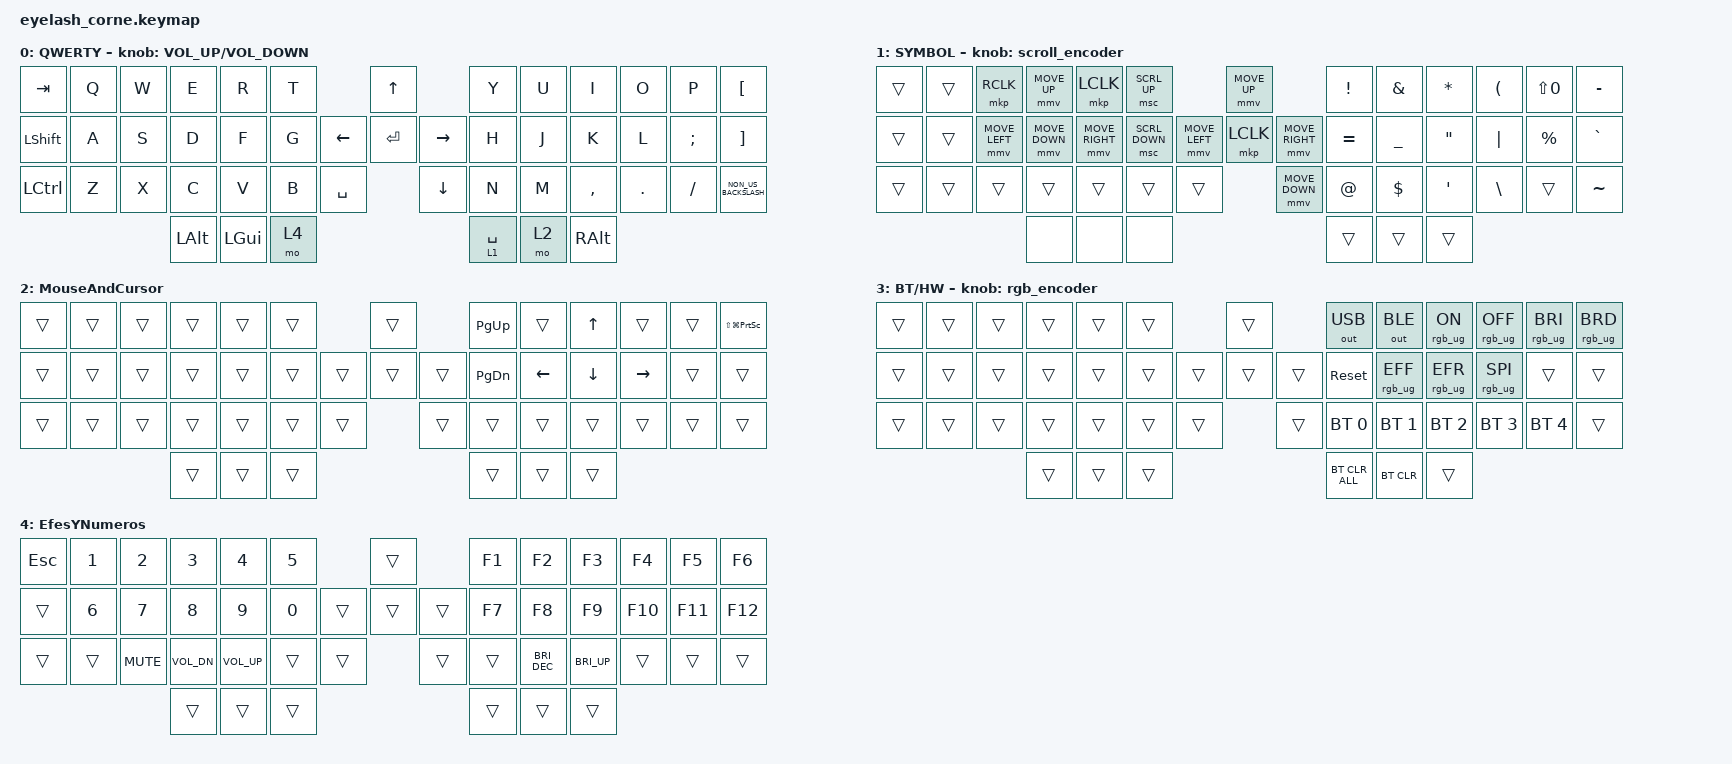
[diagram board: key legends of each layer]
#define ZMK_POINTING_DEFAULT_MOVE_VAL 1200  // 600
#define ZMK_POINTING_DEFAULT_SCRL_VAL 25   // 10

#include <input/processors.dtsi>
#include <zephyr/dt-bindings/input/input-event-codes.h>
#include <behaviors.dtsi>
#include <dt-bindings/zmk/bt.h>
#include <dt-bindings/zmk/keys.h>
#include <dt-bindings/zmk/outputs.h>
#include <dt-bindings/zmk/pointing.h>
#include <dt-bindings/zmk/rgb.h>
#include "keys_es_latin_american.h"

&mmv_input_listener { input-processors = <&zip_xy_scaler 2 1>; };

&msc_input_listener { input-processors = <&zip_scroll_scaler 2 1>; };

&msc {
    acceleration-exponent = <1>;      // 0
    time-to-max-speed-ms = <100>;       // 300
    delay-ms = <0>;                   // 0
};

&mmv {
    time-to-max-speed-ms = <500>;
    acceleration-exponent = <1>;
    trigger-period-ms = <16>;
};

/ {
    behaviors {
        td0: td0 {
            compatible = "zmk,behavior-tap-dance";
            display-name = "Shift/Caps Lock Tap Dance";
            #binding-cells = <0>;
            bindings = <&kp LEFT_SHIFT>, <&kp CAPS>;
        };

        // Custom layer-tap with improved timing for spacebar

        lt_space: lt_space {
            compatible = "zmk,behavior-hold-tap";
            #binding-cells = <2>;
            tapping-term-ms = <300>;
            quick-tap-ms = <175>;
            flavor = "tap-preferred";
            bindings = <&mo>, <&kp>;
        };
    };

    rgb_encoder: rgb_encoder {
        compatible = "zmk,behavior-sensor-rotate";
        #sensor-binding-cells = <0>;
        bindings = <&rgb_ug RGB_BRI>, <&rgb_ug RGB_BRD>;
    };

    scroll_encoder: scroll_encoder {
        compatible = "zmk,behavior-sensor-rotate";
        #sensor-binding-cells = <0>;
        bindings = <&msc SCRL_DOWN>, <&msc SCRL_UP>;

        tap-ms = <100>;
    };

    combos {
        compatible = "zmk,combos";

        borrar {
            bindings = <&kp BACKSPACE>;
            key-positions = <23 24>;
        };

        borrarderecha {
            bindings = <&kp BACKSPACE>;
            key-positions = <16 17>;
        };

        Enter {
            bindings = <&kp ENTER>;
            key-positions = <43 44>;
        };

        capa3 {
            bindings = <&mo 3>;
            key-positions = <0 13>;
        };

        rightenter {
            bindings = <&kp ENTER>;
            key-positions = <45 46>;
        };

        entermiddle {
            bindings = <&kp ENTER>;
            key-positions = <44 45>;
        };
    };

    keymap {
        compatible = "zmk,keymap";

        default_layer {
            display-name = "QWERTY";
            bindings = <
&kp TAB     &kp Q  &kp W  &kp E         &kp R         &kp T                         &kp UP                &kp Y              &kp U  &kp I      &kp O    &kp P     &kp LBKT
&kp LSHIFT  &kp A  &kp S  &kp D         &kp F         &kp G               &kp LEFT  &kp ENTER  &kp RIGHT  &kp H              &kp J  &kp K      &kp L    &kp SEMI  &kp RBKT
&kp LCTRL   &kp Z  &kp X  &kp C         &kp V         &kp B  &kp SPACE              &kp DOWN              &kp N              &kp M  &kp COMMA  &kp DOT  &kp FSLH  &kp NON_US_BACKSLASH
                          &kp LEFT_ALT  &kp LEFT_GUI  &mo 4                                               &lt_space 1 SPACE  &mo 2  &kp RALT
            >;

            sensor-bindings = <&inc_dec_kp C_VOLUME_UP C_VOLUME_DOWN>;
        };

        SpecialCharacters {
            display-name = "SYMBOL";
            bindings = <
&trans  &trans  &mkp RCLK       &mmv MOVE_UP    &mkp LCLK        &msc SCRL_UP                              &mmv MOVE_UP                     &kp EXCL   &kp AMPS   &kp ASTRK  &kp LPAR       &kp LS(N0)   &kp MINUS
&trans  &trans  &mmv MOVE_LEFT  &mmv MOVE_DOWN  &mmv MOVE_RIGHT  &msc SCRL_DOWN            &mmv MOVE_LEFT  &mkp LCLK       &mmv MOVE_RIGHT  &kp EQUAL  &kp UNDER  &kp DQT    &kp PIPE       &kp PERCENT  &kp GRAVE
&trans  &trans  &trans          &trans          &trans           &trans          &trans                    &mmv MOVE_DOWN                   &kp AT     &kp DLLR   &kp APOS   &kp BACKSLASH  &trans       &kp TILDE
                                &none           &none            &none                                                                      &trans     &trans     &trans
            >;

            sensor-bindings = <&scroll_encoder>;
        };

        MouseAndCursor {
            bindings = <
&trans  &trans  &trans  &trans  &trans  &trans                    &trans          &kp PAGE_UP    &trans          &kp UP_ARROW  &trans     &trans  &kp LS(LG(PRINTSCREEN))
&trans  &trans  &trans  &trans  &trans  &trans            &trans  &trans  &trans  &kp PAGE_DOWN  &kp LEFT_ARROW  &kp DOWN      &kp RIGHT  &trans  &trans
&trans  &trans  &trans  &trans  &trans  &trans  &trans            &trans          &trans         &trans          &trans        &trans     &trans  &trans
                        &trans  &trans  &trans                                    &trans         &trans          &trans
            >;
        };

        BluetoothAndHardware {
            display-name = "BT/HW";
            bindings = <
&trans  &trans  &trans  &trans  &trans  &trans                    &trans          &out OUT_USB    &out OUT_BLE     &rgb_ug RGB_ON   &rgb_ug RGB_OFF  &rgb_ug RGB_BRI  &rgb_ug RGB_BRD
&trans  &trans  &trans  &trans  &trans  &trans            &trans  &trans  &trans  &sys_reset      &rgb_ug RGB_EFF  &rgb_ug RGB_EFR  &rgb_ug RGB_SPI  &trans           &trans
&trans  &trans  &trans  &trans  &trans  &trans  &trans            &trans          &bt BT_SEL 0    &bt BT_SEL 1     &bt BT_SEL 2     &bt BT_SEL 3     &bt BT_SEL 4     &trans
                        &trans  &trans  &trans                                    &bt BT_CLR_ALL  &bt BT_CLR       &trans
            >;

            sensor-bindings = <&rgb_encoder>;
        };

        EfesYNumeros {
            bindings = <
&kp ESC  &kp NUMBER_1  &kp NUMBER_2  &kp NUMBER_3  &kp NUMBER_4  &kp NUMBER_5                    &trans          &kp F1  &kp F2         &kp F3        &kp F4   &kp F5   &kp F6
&trans   &kp NUMBER_6  &kp NUMBER_7  &kp NUMBER_8  &kp NUMBER_9  &kp NUMBER_0            &trans  &trans  &trans  &kp F7  &kp F8         &kp F9        &kp F10  &kp F11  &kp F12
&trans   &trans        &kp C_MUTE    &kp C_VOL_DN  &kp C_VOL_UP  &trans        &trans            &trans          &trans  &kp C_BRI_DEC  &kp C_BRI_UP  &trans   &trans   &trans
                                     &trans        &trans        &trans                                          &trans  &trans         &trans
            >;
        };
    };
};
